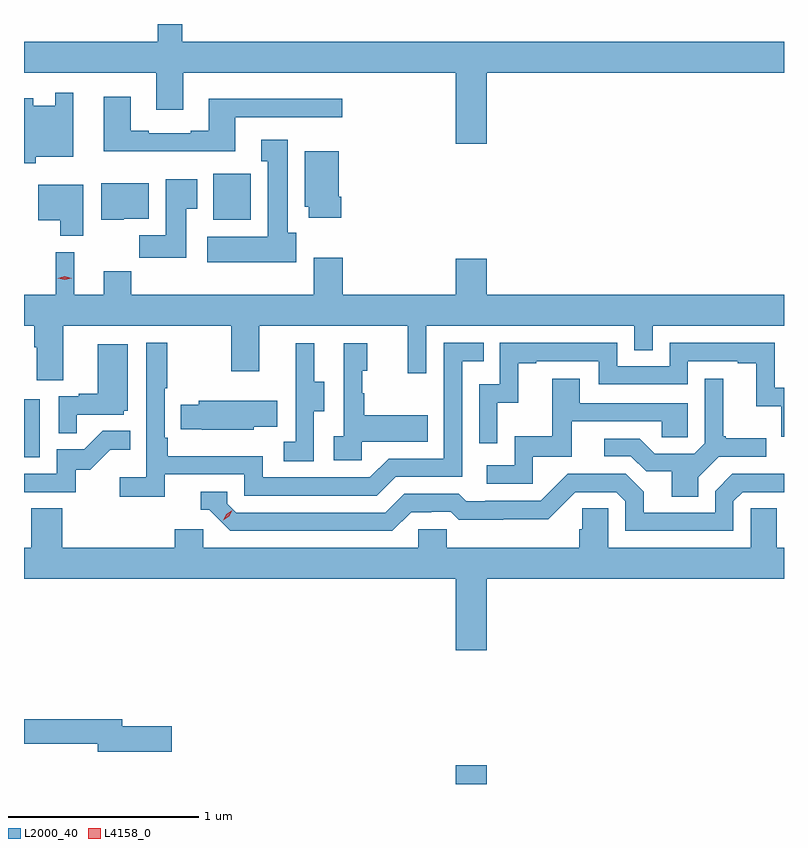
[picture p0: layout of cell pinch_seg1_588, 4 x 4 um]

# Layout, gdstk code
import gdstk
lib = gdstk.Library(unit=1e-6, precision=1e-09)
def R(c, l, rs):  # rectangles x0, y0, x1, y1
    for r in rs: c.add(gdstk.rectangle(r[:2], r[2:], *l))
def P(c, l, *ps):  # polygons
    for p in ps: c.add(gdstk.Polygon(p, *l))
L2000_40 = (2000, 40)
L4158_0 = (4158, 0)

pinch_seg1_588 = lib.new_cell('pinch_seg1_588')
R(pinch_seg1_588, L2000_40, [(1064.108,510.693,1064.272,510.793), (1061.836,512.412,1061.92,512.719), (1062.833,513.662,1063.03,513.904)])
P(pinch_seg1_588, L2000_40, [(1064.272,514.436),(1065.836,514.436),(1065.836,514.6),(1062.67,514.6),(1062.67,514.693),(1062.541,514.693),(1062.541,514.6),(1061.836,514.6),(1061.836,514.436),(1062.533,514.436),(1062.533,514.242),(1062.673,514.242),(1062.673,514.436),(1064.108,514.436),(1064.108,514.062),(1064.272,514.062)],
  [(1061.897,513.995),(1062.096,513.995),(1062.096,514.33),(1062,514.33),(1062,514.264),(1061.884,514.264),(1061.884,514.303),(1061.836,514.303),(1061.836,513.959),(1061.897,513.959)],
  [(1062.949,514.203),(1063.51,514.203),(1063.51,514.3),(1062.809,514.3),(1062.809,514.132),(1062.713,514.132),(1062.713,514.119),(1062.493,514.119),(1062.493,514.132),(1062.397,514.132),(1062.397,514.309),(1062.257,514.309),(1062.257,514.022),(1062.949,514.022)],
  [(1063.27,513.594),(1063.225,513.594),(1063.225,514.084),(1063.085,514.084),(1063.085,513.971),(1063.118,513.971),(1063.118,513.574),(1062.801,513.574),(1062.801,513.44),(1063.27,513.44)],
  [(1063.505,513.784),(1063.492,513.784),(1063.492,514.024),(1063.313,514.024),(1063.313,513.732),(1063.334,513.732),(1063.334,513.672),(1063.505,513.672)],
  [(1062.691,513.721),(1062.748,513.721),(1062.748,513.877),(1062.581,513.877),(1062.581,513.58),(1062.442,513.58),(1062.442,513.462),(1062.691,513.462)],
  [(1062.36,513.668),(1062.493,513.668),(1062.493,513.856),(1062.242,513.856),(1062.242,513.662),(1062.36,513.662)],
  [(1062.148,513.847),(1061.912,513.847),(1061.912,513.659),(1062.026,513.659),(1062.026,513.578),(1062.148,513.578)],
  [(1062.043,513.104),(1062.928,513.104),(1062.928,512.865),(1063.075,512.865),(1063.075,513.104),(1063.856,513.104),(1063.856,512.856),(1063.953,512.856),(1063.953,513.104),(1065.048,513.104),(1065.048,512.977),(1065.144,512.977),(1065.144,513.104),(1065.836,513.104),(1065.836,513.268),(1064.272,513.268),(1064.272,513.457),(1064.108,513.457),(1064.108,513.268),(1063.514,513.268),(1063.514,513.463),(1063.361,513.463),(1063.361,513.268),(1062.401,513.268),(1062.401,513.392),(1062.257,513.392),(1062.257,513.268),(1062.1,513.268),(1062.1,513.493),(1062.002,513.493),(1062.002,513.268),(1061.836,513.268),(1061.836,513.104),(1061.891,513.104),(1061.891,512.992),(1061.903,512.992),(1061.903,512.818),(1062.043,512.818)],
  [(1062.578,512.322),(1062.996,512.322),(1062.996,512.211),(1063.693,512.211),(1063.792,512.31),(1064.142,512.31),(1064.142,512.919),(1064.255,512.919),(1064.255,513.015),(1064.046,513.015),(1064.046,512.406),(1063.755,512.406),(1063.656,512.307),(1063.092,512.307),(1063.092,512.419),(1062.593,512.419),(1062.593,512.515),(1062.576,512.515),(1062.576,512.776),(1062.589,512.776),(1062.589,513.016),(1062.48,513.016),(1062.48,512.308),(1062.339,512.308),(1062.339,512.206),(1062.578,512.206)],
  [(1064.328,512.699),(1064.438,512.699),(1064.438,512.907),(1064.533,512.907),(1064.533,512.919),(1064.862,512.919),(1064.862,512.796),(1065.33,512.796),(1065.33,512.919),(1065.593,512.919),(1065.593,512.907),(1065.689,512.907),(1065.689,512.681),(1065.822,512.681),(1065.822,512.52),(1065.836,512.52),(1065.836,512.779),(1065.786,512.779),(1065.786,513.015),(1065.234,513.015),(1065.234,512.892),(1064.958,512.892),(1064.958,513.015),(1064.34,513.015),(1064.34,512.796),(1064.232,512.796),(1064.232,512.487),(1064.328,512.487)],
  [(1063.614,512.495),(1063.961,512.495),(1063.961,512.635),(1063.627,512.635),(1063.627,512.75),(1063.617,512.75),(1063.617,512.868),(1063.642,512.868),(1063.642,513.013),(1063.518,513.013),(1063.518,512.522),(1063.467,512.522),(1063.467,512.397),(1063.614,512.397)],
  [(1063.362,512.656),(1063.417,512.656),(1063.417,512.811),(1063.363,512.811),(1063.363,513.013),(1063.265,513.013),(1063.265,512.799),(1063.266,512.799),(1063.266,512.495),(1063.203,512.495),(1063.203,512.392),(1063.362,512.392)],
  [(1062.113,512.637),(1062.36,512.637),(1062.36,512.658),(1062.382,512.658),(1062.382,513.007),(1062.224,513.007),(1062.224,512.746),(1062.125,512.746),(1062.125,512.733),(1062.018,512.733),(1062.018,512.539),(1062.113,512.539)],
  [(1064.514,512.415),(1064.719,512.415),(1064.719,512.601),(1065.193,512.601),(1065.193,512.517),(1065.33,512.517),(1065.33,512.697),(1064.761,512.697),(1064.761,512.827),(1064.617,512.827),(1064.617,512.524),(1064.418,512.524),(1064.418,512.37),(1064.271,512.37),(1064.271,512.274),(1064.514,512.274)],
  [(1065.385,512.308),(1065.492,512.415),(1065.742,512.415),(1065.742,512.512),(1065.529,512.512),(1065.529,512.524),(1065.517,512.524),(1065.517,512.827),(1065.42,512.827),(1065.42,512.487),(1065.363,512.43),(1065.157,512.43),(1065.076,512.511),(1064.889,512.511),(1064.889,512.418),(1065.03,512.418),(1065.11,512.338),(1065.245,512.338),(1065.245,512.206),(1065.385,512.206)],
  [(1063.044,512.573),(1063.169,512.573),(1063.169,512.71),(1062.755,512.71),(1062.755,512.688),(1062.661,512.688),(1062.661,512.559),(1062.772,512.559),(1062.772,512.558),(1063.044,512.558)],
  [(1062.108,512.346),(1062.184,512.346),(1062.291,512.453),(1062.395,512.453),(1062.395,512.552),(1062.251,512.552),(1062.153,512.454),(1062.009,512.454),(1062.009,512.325),(1061.836,512.325),(1061.836,512.229),(1062.108,512.229)],
  [(1063.873,512.124),(1063.98,512.124),(1063.98,512.127),(1064.083,512.127),(1064.125,512.085),(1064.358,512.085),(1064.358,512.087),(1064.594,512.087),(1064.736,512.229),(1064.952,512.229),(1065,512.181),(1065,512.025),(1065.57,512.025),(1065.57,512.181),(1065.618,512.229),(1065.836,512.229),(1065.836,512.327),(1065.78,512.327),(1065.78,512.325),(1065.564,512.325),(1065.474,512.235),(1065.474,512.121),(1065.097,512.121),(1065.097,512.231),(1065.003,512.325),(1064.697,512.325),(1064.556,512.184),(1064.263,512.184),(1064.263,512.181),(1064.164,512.181),(1064.125,512.22),(1063.836,512.22),(1063.737,512.121),(1062.954,512.121),(1062.906,512.169),(1062.906,512.232),(1062.767,512.232),(1062.767,512.136),(1062.81,512.136),(1062.921,512.025),(1063.774,512.025)],
  [(1064.272,511.772),(1065.836,511.772),(1065.836,511.936),(1065.799,511.936),(1065.799,512.144),(1065.66,512.144),(1065.66,511.936),(1064.91,511.936),(1064.91,512.144),(1064.773,512.144),(1064.773,512.034),(1064.759,512.034),(1064.759,511.936),(1064.061,511.936),(1064.061,512.034),(1063.911,512.034),(1063.911,511.936),(1062.78,511.936),(1062.78,512.034),(1062.629,512.034),(1062.629,511.936),(1062.038,511.936),(1062.038,512.144),(1061.873,512.144),(1061.873,511.936),(1061.836,511.936),(1061.836,511.772),(1064.108,511.772),(1064.108,511.398),(1064.272,511.398)],
  [(1062.613,510.998),(1062.352,510.998),(1062.352,511.034),(1061.836,511.034),(1061.836,510.906),(1062.224,510.906),(1062.224,510.863),(1062.613,510.863)])
P(pinch_seg1_588, L4158_0, [(1062.885,512.081),(1062.885,512.081),(1062.9,512.114),(1062.931,512.134),(1062.931,512.134),(1062.931,512.134),(1062.916,512.101),(1062.885,512.081)],
  [(1062.05,513.346),(1062.014,513.356),(1062.014,513.356),(1062.014,513.356),(1062.051,513.366),(1062.086,513.355),(1062.087,513.355),(1062.086,513.355)])

lib.write_gds('pinch_seg1_588.gds')
